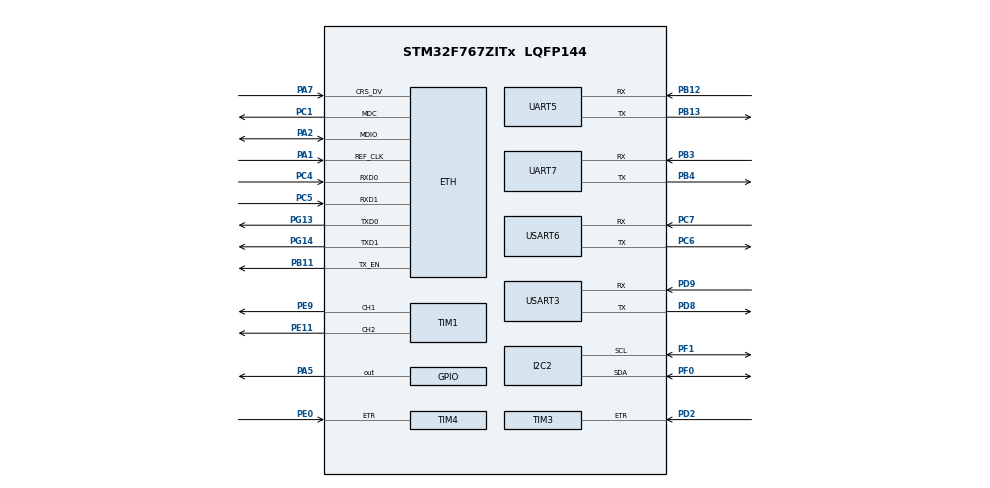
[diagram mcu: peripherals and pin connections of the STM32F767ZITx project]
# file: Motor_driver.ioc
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ADC1.Channel-0\#ChannelRegularConversion=ADC_CHANNEL_TEMPSENSOR
ADC1.ClockPrescaler=ADC_CLOCK_SYNC_PCLK_DIV4
ADC1.NbrOfConversionFlag=1
ADC1.Rank-0\#ChannelRegularConversion=1
ADC1.SamplingTime-0\#ChannelRegularConversion=ADC_SAMPLETIME_3CYCLES
ADC1.master=1
CORTEX_M7.default_mode_Activation=1
Dma.Request0=USART6_RX
Dma.USART6_RX.0.Direction=DMA_PERIPH_TO_MEMORY
Dma.USART6_RX.0.FIFOMode=DMA_FIFOMODE_DISABLE
Dma.USART6_RX.0.Instance=DMA2_Stream1
Dma.USART6_RX.0.MemDataAlignment=DMA_MDATAALIGN_BYTE
Dma.USART6_RX.0.MemInc=DMA_MINC_ENABLE
Dma.USART6_RX.0.Mode=DMA_NORMAL
Dma.USART6_RX.0.PeriphDataAlignment=DMA_PDATAALIGN_BYTE
Dma.USART6_RX.0.PeriphInc=DMA_PINC_DISABLE
Dma.USART6_RX.0.Priority=DMA_PRIORITY_LOW
ETH.MediaInterface=HAL_ETH_RMII_MODE
LWIP.BSP.number=1
LWIP.Version=v2.1.2_Cube
LWIP0.BSP.STBoard=false
LWIP0.BSP.api=BSP_COMPONENT_DRIVER
LWIP0.BSP.component=LAN8742
LWIP0.BSP.instance=LAN8742
LWIP0.BSP.name=Driver_PHY
LWIP0.BSP.semaphore=S_LAN8742
LWIP0.BSP.solution=LAN8742
Mcu.Family=STM32F7
Mcu.Name=STM32F767ZITx
Mcu.Package=LQFP144
NVIC.DMA2_Stream1_IRQn=true\:0\:0\:false\:false\:true\:false\:true\:true
NVIC.PriorityGroup=NVIC_PRIORITYGROUP_4
NVIC.UART7_IRQn=true\:0\:0\:false\:false\:true\:true\:true\:true
NVIC.USART6_IRQn=true\:0\:0\:false\:false\:true\:true\:true\:true
PA1.Mode=RMII
PA1.Signal=ETH_REF_CLK
PA2.Mode=RMII
PA2.Signal=ETH_MDIO
PA5.Signal=GPIO_Output
PA7.Mode=RMII
PA7.Signal=ETH_CRS_DV
PB11.Mode=RMII
PB11.Signal=ETH_TX_EN
PB12.Mode=Asynchronous
PB12.Signal=UART5_RX
PB13.Mode=Asynchronous
PB13.Signal=UART5_TX
PB3.Mode=Asynchronous
PB3.Signal=UART7_RX
PB4.Mode=Asynchronous
PB4.Signal=UART7_TX
PC1.Mode=RMII
PC1.Signal=ETH_MDC
PC4.Mode=RMII
PC4.Signal=ETH_RXD0
PC5.Mode=RMII
PC5.Signal=ETH_RXD1
PC6.Mode=Asynchronous
PC6.Signal=USART6_TX
PC7.Mode=Asynchronous
PC7.Signal=USART6_RX
PD2.Signal=S_TIM3_ETR
PD8.Mode=Asynchronous
PD8.Signal=USART3_TX
PD9.Mode=Asynchronous
PD9.Signal=USART3_RX
PE0.Signal=S_TIM4_ETR
PE11.Signal=S_TIM1_CH2
PE9.Signal=S_TIM1_CH1
PF0.Mode=I2C
PF0.Signal=I2C2_SDA
PF1.Mode=I2C
PF1.Signal=I2C2_SCL
PG13.Mode=RMII
PG13.Signal=ETH_TXD0
PG14.Mode=RMII
PG14.Signal=ETH_TXD1
ProjectManager.HeapSize=0x200
ProjectManager.StackSize=0x400
ProjectManager.TargetToolchain=STM32CubeIDE
RCC.HSE_VALUE=25000000
RCC.HSI_VALUE=16000000
RCC.LSE_VALUE=32768
RCC.USBFreq_Value=96000000
RCC.VCOOutputFreq_Value=192000000
SH.S_TIM1_CH1.0=TIM1_CH1,PWM Generation1 CH1
SH.S_TIM1_CH2.0=TIM1_CH2,PWM Generation2 CH2
SH.S_TIM3_ETR.0=TIM3_ETR,ClockSourceETR_Mode2
SH.S_TIM4_ETR.0=TIM4_ETR,ClockSourceETR_Mode2
TIM1.Channel-PWM\ Generation1\ CH1=TIM_CHANNEL_1
TIM1.Channel-PWM\ Generation2\ CH2=TIM_CHANNEL_2
TIM3.ClockFilter=3
TIM4.ClockFilter=3
USART3.VirtualMode-Asynchronous=VM_ASYNC
USART6.VirtualMode-Asynchronous=VM_ASYNC
VP_ADC1_TempSens_Input.Mode=IN-TempSens
VP_ADC1_Vref_Input.Mode=IN-Vrefint
VP_LWIP_VS_Enabled.Mode=Enabled
board=custom

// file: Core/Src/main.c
/* USER CODE BEGIN Header */
/**
  ******************************************************************************
  * @file           : main.c
  * @brief          : Main program body
  ******************************************************************************
  * @attention
  *
  * Copyright (c) 2026 STMicroelectronics.
  * All rights reserved.
  *
  * This software is licensed under terms that can be found in the LICENSE file
  * in the root directory of this software component.
  * If no LICENSE file comes with this software, it is provided AS-IS.
  *
  ******************************************************************************
  */
/* USER CODE END Header */
#include "main.h"

/* USER CODE BEGIN Includes */
#include "i2c-lcd.h"
#include "stdio.h"
#include "ibus.h"
#include "motor.h"
#include "encoder.h"
#include "odom.h"
#include "cmd.h"

/* USER CODE END Includes */

/* USER CODE BEGIN PD */
  #define TS_CAL1 (*(volatile uint16_t *)0x1FF0F44CUL)   // raw @ 30 C
  #define TS_CAL2 (*(volatile uint16_t *)0x1FF0F44EUL)   // raw @ 110 C

/* USER CODE END PD */

ADC_HandleTypeDef hadc1;

I2C_HandleTypeDef hi2c2;

TIM_HandleTypeDef htim1;
TIM_HandleTypeDef htim3;
TIM_HandleTypeDef htim4;

UART_HandleTypeDef huart5;
UART_HandleTypeDef huart7;
UART_HandleTypeDef huart3;
UART_HandleTypeDef huart6;
DMA_HandleTypeDef hdma_usart6_rx;

void SystemClock_Config(void);
static void MPU_Config(void);
static void MX_GPIO_Init(void);
static void MX_DMA_Init(void);
static void MX_I2C2_Init(void);
static void MX_ADC1_Init(void);
static void MX_TIM1_Init(void);
static void MX_USART6_UART_Init(void);
static void MX_USART3_UART_Init(void);
static void MX_TIM3_Init(void);
static void MX_TIM4_Init(void);
static void MX_UART5_Init(void);
static void MX_UART7_Init(void);

/* USER CODE BEGIN 0 */
int row=0;
int col=0;
/* USER CODE END 0 */

int main(void)
{

  /* USER CODE BEGIN 1 */
  RCC->AHB1ENR |= RCC_AHB1ENR_GPIOCEN ;
  RCC->AHB1ENR |= RCC_AHB1ENR_GPIOBEN ;
  /* USER CODE END 1 */

  /* MPU Configuration--------------------------------------------------------*/
  MPU_Config();

  /* MCU Configuration--------------------------------------------------------*/

  /* Reset of all peripherals, Initializes the Flash interface and the Systick. */
  HAL_Init();

  /* Configure the system clock */
  SystemClock_Config();

  /* Initialize all configured peripherals */
  MX_GPIO_Init();
  MX_DMA_Init();
  MX_I2C2_Init();
  MX_ADC1_Init();
  MX_TIM1_Init();
  MX_USART6_UART_Init();
  MX_USART3_UART_Init();
  MX_TIM3_Init();
  MX_TIM4_Init();
  MX_UART5_Init();
  MX_UART7_Init();
  /* USER CODE BEGIN 2 */

//  lcd_init ();
//  lcd_put_cur(0, 0);
//  lcd_send_string ("Motor Control Init");
//  lcd_put_cur(1, 0);
//  lcd_send_string("Agribot");
  RCC->APB2ENR |= RCC_APB2ENR_ADC1EN ;

  // i tried selecting Select ADC1_IN18 input channel. since the paragpghe said "
  /* 15.3.4 Channel selection
  There are 16 multiplexed channels. It is possible to organize the conversions in two groups:
  regular and injected. A group consists of a sequence of conversions that can be done on
  any channel and in any order. For instance, it is possible to implement the conversion
  sequence in the following order: ADC_IN3, ADC_IN8, ADC_IN2, ADC_IN2, ADC_IN0,
  ADC_IN2, ADC_IN2, ADC_IN15.
  • A regular group is composed of up to 16 conversions. The regular channels and their
  order in the conversion sequence must be selected in the ADC_SQRx registers. The
  total number of conversions in the regular group must be written in the L[3:0] bits in the
  ADC_SQR1 register.*/
  ADC1->SQR1 &= ~ADC_SQR1_L;             // L = 0  -> sequence length of 1 conversion
  ADC1->SQR3 = (18u << ADC_SQR3_SQ1_Pos);
  // 1st conversion = channel 18 (SQ1_Pos is 0, so this is just 18)
    //now i have to set the sampling time
  ADC1->SMPR1 |= ADC_SMPR1_SMP18;

  //3-Set the TSVREFE bit in the ADC_CCR register to wake up the temperature sensor
//  from power down mode
  ADC->CCR |= ADC_CCR_TSVREFE ;
  //4-Start the ADC conversion by setting the SWSTART bit
  ADC1->CR2 |=  ADC_CR2_SWSTART ;

  /* Start FlySky iBUS reception on USART6 (PC7) via DMA + IDLE line */
  ibus_init(&huart6);

  /* Configure TIM1 PWM + DIR/STOP GPIOs; both motors start stopped */
  motor_init();

  /* Start wheel-odometry pulse counters (TIM3=right/PD2, TIM4=left/PE0) */
  encoder_init();

  /* Start odometry TX bridge to the Pi over UART7 (PB4=TX, PB3=RX) */
  odom_init(&huart7);

  /* Start Pi cmd_vel RX on the same UART7 link (PB3) -- see cmd.h */
  cmd_init(&huart7);

ADC1->CR1 |= ADC_ALL_CHANNELS ;
  /* USER CODE END 2 */

  /* Infinite loop */
  while (1)
  {

    /* USER CODE BEGIN 3 */
    /* Poll arm button, sample wheel odometry, then drive. ~100 Hz. */
    motor_button_update();
    encoder_update();
    motor_rc_update();
    odom_update();          /* stream wheel odometry to the Pi @ 50 Hz */

    /* Throttled debug on the USART3 VCP (~5 Hz). */
    static uint32_t last_dbg = 0;
    if (HAL_GetTick() - last_dbg >= 200) {
      last_dbg = HAL_GetTick();
      const char *state = !motor_is_armed() ? "DISARMED"
                          : (ibus_is_alive(100) ? "ARMED" : "FAILSAFE");
      const char *src = (motor_drive_source() == DRIVE_RC)  ? "RC"
                       : (motor_drive_source() == DRIVE_CMD) ? "CMD"
                       : "-";
      /* velocity in mm/s as int -> avoids needing float-printf (-u _printf_float) */
      printf("%s src:%s  F:%lu E:%lu  cmdF:%lu cmdE:%lu  spd(CH2):%u steer(CH1):%u  vL:%d vR:%d mm/s  pL:%lu pR:%lu\r\n",
             state, src, ibus.frame_count, ibus.error_count,
             cmd_frame_count, cmd_error_count,
             ibus_get_channel(1), ibus_get_channel(0),
             (int)(encoder_speed_mps(MOTOR_LEFT)  * 1000.0f),
             (int)(encoder_speed_mps(MOTOR_RIGHT) * 1000.0f),
             encoder_pulses(MOTOR_LEFT), encoder_pulses(MOTOR_RIGHT));
    }
    HAL_Delay(10);
  }
  /* USER CODE END 3 */
}

void SystemClock_Config(void)
{
  RCC_OscInitTypeDef RCC_OscInitStruct = {0};
  RCC_ClkInitTypeDef RCC_ClkInitStruct = {0};

  /** Configure the main internal regulator output voltage
  */
  __HAL_RCC_PWR_CLK_ENABLE();
  __HAL_PWR_VOLTAGESCALING_CONFIG(PWR_REGULATOR_VOLTAGE_SCALE3);

  /** Initializes the RCC Oscillators according to the specified parameters
  * in the RCC_OscInitTypeDef structure.
  */
  RCC_OscInitStruct.OscillatorType = RCC_OSCILLATORTYPE_HSI;
  RCC_OscInitStruct.HSIState = RCC_HSI_ON;
  RCC_OscInitStruct.HSICalibrationValue = RCC_HSICALIBRATION_DEFAULT;
  RCC_OscInitStruct.PLL.PLLState = RCC_PLL_NONE;
  if (HAL_RCC_OscConfig(&RCC_OscInitStruct) != HAL_OK)
  {
    Error_Handler();
  }

  /** Initializes the CPU, AHB and APB buses clocks
  */
  RCC_ClkInitStruct.ClockType = RCC_CLOCKTYPE_HCLK|RCC_CLOCKTYPE_SYSCLK
                              |RCC_CLOCKTYPE_PCLK1|RCC_CLOCKTYPE_PCLK2;
  RCC_ClkInitStruct.SYSCLKSource = RCC_SYSCLKSOURCE_HSI;
  RCC_ClkInitStruct.AHBCLKDivider = RCC_SYSCLK_DIV1;
  RCC_ClkInitStruct.APB1CLKDivider = RCC_HCLK_DIV1;
  RCC_ClkInitStruct.APB2CLKDivider = RCC_HCLK_DIV1;

  if (HAL_RCC_ClockConfig(&RCC_ClkInitStruct, FLASH_LATENCY_0) != HAL_OK)
  {
    Error_Handler();
  }
}

static void MX_ADC1_Init(void)
{

  ADC_ChannelConfTypeDef sConfig = {0};

  /** Configure the global features of the ADC (Clock, Resolution, Data Alignment and number of conversion)
  */
  hadc1.Instance = ADC1;
  hadc1.Init.ClockPrescaler = ADC_CLOCK_SYNC_PCLK_DIV4;
  hadc1.Init.Resolution = ADC_RESOLUTION_12B;
  hadc1.Init.ScanConvMode = ADC_SCAN_DISABLE;
  hadc1.Init.ContinuousConvMode = DISABLE;
  hadc1.Init.DiscontinuousConvMode = DISABLE;
  hadc1.Init.ExternalTrigConvEdge = ADC_EXTERNALTRIGCONVEDGE_NONE;
  hadc1.Init.ExternalTrigConv = ADC_SOFTWARE_START;
  hadc1.Init.DataAlign = ADC_DATAALIGN_RIGHT;
  hadc1.Init.NbrOfConversion = 1;
  hadc1.Init.DMAContinuousRequests = DISABLE;
  hadc1.Init.EOCSelection = ADC_EOC_SINGLE_CONV;
  if (HAL_ADC_Init(&hadc1) != HAL_OK)
  {
    Error_Handler();
  }

  /** Configure for the selected ADC regular channel its corresponding rank in the sequencer and its sample time.
  */
  sConfig.Channel = ADC_CHANNEL_TEMPSENSOR;
  sConfig.Rank = ADC_REGULAR_RANK_1;
  sConfig.SamplingTime = ADC_SAMPLETIME_3CYCLES;
  if (HAL_ADC_ConfigChannel(&hadc1, &sConfig) != HAL_OK)
  {
    Error_Handler();
  }

}

static void MX_I2C2_Init(void)
{

  hi2c2.Instance = I2C2;
  hi2c2.Init.Timing = 0x00303D5B;
  hi2c2.Init.OwnAddress1 = 0;
  hi2c2.Init.AddressingMode = I2C_ADDRESSINGMODE_7BIT;
  hi2c2.Init.DualAddressMode = I2C_DUALADDRESS_DISABLE;
  hi2c2.Init.OwnAddress2 = 0;
  hi2c2.Init.OwnAddress2Masks = I2C_OA2_NOMASK;
  hi2c2.Init.GeneralCallMode = I2C_GENERALCALL_DISABLE;
  hi2c2.Init.NoStretchMode = I2C_NOSTRETCH_DISABLE;
  if (HAL_I2C_Init(&hi2c2) != HAL_OK)
  {
    Error_Handler();
  }

  /** Configure Analogue filter
  */
  if (HAL_I2CEx_ConfigAnalogFilter(&hi2c2, I2C_ANALOGFILTER_ENABLE) != HAL_OK)
  {
    Error_Handler();
  }

  /** Configure Digital filter
  */
  if (HAL_I2CEx_ConfigDigitalFilter(&hi2c2, 0) != HAL_OK)
  {
    Error_Handler();
  }

}

static void MX_TIM1_Init(void)
{

  TIM_MasterConfigTypeDef sMasterConfig = {0};
  TIM_OC_InitTypeDef sConfigOC = {0};
  TIM_BreakDeadTimeConfigTypeDef sBreakDeadTimeConfig = {0};

  htim1.Instance = TIM1;
  htim1.Init.Prescaler = 0;
  htim1.Init.CounterMode = TIM_COUNTERMODE_UP;
  htim1.Init.Period = 65535;
  htim1.Init.ClockDivision = TIM_CLOCKDIVISION_DIV1;
  htim1.Init.RepetitionCounter = 0;
  htim1.Init.AutoReloadPreload = TIM_AUTORELOAD_PRELOAD_DISABLE;
  if (HAL_TIM_PWM_Init(&htim1) != HAL_OK)
  {
    Error_Handler();
  }
  sMasterConfig.MasterOutputTrigger = TIM_TRGO_RESET;
  sMasterConfig.MasterOutputTrigger2 = TIM_TRGO2_RESET;
  sMasterConfig.MasterSlaveMode = TIM_MASTERSLAVEMODE_DISABLE;
  if (HAL_TIMEx_MasterConfigSynchronization(&htim1, &sMasterConfig) != HAL_OK)
  {
    Error_Handler();
  }
  sConfigOC.OCMode = TIM_OCMODE_PWM1;
  sConfigOC.Pulse = 0;
  sConfigOC.OCPolarity = TIM_OCPOLARITY_HIGH;
  sConfigOC.OCNPolarity = TIM_OCNPOLARITY_HIGH;
  sConfigOC.OCFastMode = TIM_OCFAST_DISABLE;
  sConfigOC.OCIdleState = TIM_OCIDLESTATE_RESET;
  sConfigOC.OCNIdleState = TIM_OCNIDLESTATE_RESET;
  if (HAL_TIM_PWM_ConfigChannel(&htim1, &sConfigOC, TIM_CHANNEL_1) != HAL_OK)
  {
    Error_Handler();
  }
  if (HAL_TIM_PWM_ConfigChannel(&htim1, &sConfigOC, TIM_CHANNEL_2) != HAL_OK)
  {
    Error_Handler();
  }
  sBreakDeadTimeConfig.OffStateRunMode = TIM_OSSR_DISABLE;
  sBreakDeadTimeConfig.OffStateIDLEMode = TIM_OSSI_DISABLE;
  sBreakDeadTimeConfig.LockLevel = TIM_LOCKLEVEL_OFF;
  sBreakDeadTimeConfig.DeadTime = 0;
  sBreakDeadTimeConfig.BreakState = TIM_BREAK_DISABLE;
  sBreakDeadTimeConfig.BreakPolarity = TIM_BREAKPOLARITY_HIGH;
  sBreakDeadTimeConfig.BreakFilter = 0;
  sBreakDeadTimeConfig.Break2State = TIM_BREAK2_DISABLE;
  sBreakDeadTimeConfig.Break2Polarity = TIM_BREAK2POLARITY_HIGH;
  sBreakDeadTimeConfig.Break2Filter = 0;
  sBreakDeadTimeConfig.AutomaticOutput = TIM_AUTOMATICOUTPUT_DISABLE;
  if (HAL_TIMEx_ConfigBreakDeadTime(&htim1, &sBreakDeadTimeConfig) != HAL_OK)
  {
    Error_Handler();
  }
  HAL_TIM_MspPostInit(&htim1);

}

static void MX_TIM3_Init(void)
{

  TIM_ClockConfigTypeDef sClockSourceConfig = {0};
  TIM_MasterConfigTypeDef sMasterConfig = {0};

  htim3.Instance = TIM3;
  htim3.Init.Prescaler = 0;
  htim3.Init.CounterMode = TIM_COUNTERMODE_UP;
  htim3.Init.Period = 65535;
  htim3.Init.ClockDivision = TIM_CLOCKDIVISION_DIV1;
  htim3.Init.AutoReloadPreload = TIM_AUTORELOAD_PRELOAD_DISABLE;
  if (HAL_TIM_Base_Init(&htim3) != HAL_OK)
  {
    Error_Handler();
  }
  sClockSourceConfig.ClockSource = TIM_CLOCKSOURCE_ETRMODE2;
  sClockSourceConfig.ClockPolarity = TIM_CLOCKPOLARITY_NONINVERTED;
  sClockSourceConfig.ClockPrescaler = TIM_CLOCKPRESCALER_DIV1;
  sClockSourceConfig.ClockFilter = 3;
  if (HAL_TIM_ConfigClockSource(&htim3, &sClockSourceConfig) != HAL_OK)
  {
    Error_Handler();
  }
  sMasterConfig.MasterOutputTrigger = TIM_TRGO_RESET;
  sMasterConfig.MasterSlaveMode = TIM_MASTERSLAVEMODE_DISABLE;
  if (HAL_TIMEx_MasterConfigSynchronization(&htim3, &sMasterConfig) != HAL_OK)
  {
    Error_Handler();
  }

}

static void MX_TIM4_Init(void)
{

  TIM_ClockConfigTypeDef sClockSourceConfig = {0};
  TIM_MasterConfigTypeDef sMasterConfig = {0};

  htim4.Instance = TIM4;
  htim4.Init.Prescaler = 0;
  htim4.Init.CounterMode = TIM_COUNTERMODE_UP;
  htim4.Init.Period = 65535;
  htim4.Init.ClockDivision = TIM_CLOCKDIVISION_DIV1;
  htim4.Init.AutoReloadPreload = TIM_AUTORELOAD_PRELOAD_DISABLE;
  if (HAL_TIM_Base_Init(&htim4) != HAL_OK)
  {
    Error_Handler();
  }
  sClockSourceConfig.ClockSource = TIM_CLOCKSOURCE_ETRMODE2;
  sClockSourceConfig.ClockPolarity = TIM_CLOCKPOLARITY_NONINVERTED;
  sClockSourceConfig.ClockPrescaler = TIM_CLOCKPRESCALER_DIV1;
  sClockSourceConfig.ClockFilter = 3;
  if (HAL_TIM_ConfigClockSource(&htim4, &sClockSourceConfig) != HAL_OK)
  {
    Error_Handler();
  }
  sMasterConfig.MasterOutputTrigger = TIM_TRGO_RESET;
  sMasterConfig.MasterSlaveMode = TIM_MASTERSLAVEMODE_DISABLE;
  if (HAL_TIMEx_MasterConfigSynchronization(&htim4, &sMasterConfig) != HAL_OK)
  {
    Error_Handler();
  }

}

static void MX_UART5_Init(void)
{

  huart5.Instance = UART5;
  huart5.Init.BaudRate = 115200;
  huart5.Init.WordLength = UART_WORDLENGTH_8B;
  huart5.Init.StopBits = UART_STOPBITS_1;
  huart5.Init.Parity = UART_PARITY_NONE;
  huart5.Init.Mode = UART_MODE_TX_RX;
  huart5.Init.HwFlowCtl = UART_HWCONTROL_NONE;
  huart5.Init.OverSampling = UART_OVERSAMPLING_16;
  huart5.Init.OneBitSampling = UART_ONE_BIT_SAMPLE_DISABLE;
  huart5.AdvancedInit.AdvFeatureInit = UART_ADVFEATURE_NO_INIT;
  if (HAL_UART_Init(&huart5) != HAL_OK)
  {
    Error_Handler();
  }

}

static void MX_UART7_Init(void)
{

  huart7.Instance = UART7;
  huart7.Init.BaudRate = 115200;
  huart7.Init.WordLength = UART_WORDLENGTH_8B;
  huart7.Init.StopBits = UART_STOPBITS_1;
  huart7.Init.Parity = UART_PARITY_NONE;
  huart7.Init.Mode = UART_MODE_TX_RX;
  huart7.Init.HwFlowCtl = UART_HWCONTROL_NONE;
  huart7.Init.OverSampling = UART_OVERSAMPLING_16;
  huart7.Init.OneBitSampling = UART_ONE_BIT_SAMPLE_DISABLE;
  huart7.AdvancedInit.AdvFeatureInit = UART_ADVFEATURE_NO_INIT;
  if (HAL_UART_Init(&huart7) != HAL_OK)
  {
    Error_Handler();
  }

}

static void MX_USART3_UART_Init(void)
{

  huart3.Instance = USART3;
  huart3.Init.BaudRate = 115200;
  huart3.Init.WordLength = UART_WORDLENGTH_8B;
  huart3.Init.StopBits = UART_STOPBITS_1;
  huart3.Init.Parity = UART_PARITY_NONE;
  huart3.Init.Mode = UART_MODE_TX_RX;
  huart3.Init.HwFlowCtl = UART_HWCONTROL_NONE;
  huart3.Init.OverSampling = UART_OVERSAMPLING_16;
  huart3.Init.OneBitSampling = UART_ONE_BIT_SAMPLE_DISABLE;
  huart3.AdvancedInit.AdvFeatureInit = UART_ADVFEATURE_NO_INIT;
  if (HAL_UART_Init(&huart3) != HAL_OK)
  {
    Error_Handler();
  }

}

static void MX_USART6_UART_Init(void)
{

  huart6.Instance = USART6;
  huart6.Init.BaudRate = 115200;
  huart6.Init.WordLength = UART_WORDLENGTH_8B;
  huart6.Init.StopBits = UART_STOPBITS_1;
  huart6.Init.Parity = UART_PARITY_NONE;
  huart6.Init.Mode = UART_MODE_TX_RX;
  huart6.Init.HwFlowCtl = UART_HWCONTROL_NONE;
  huart6.Init.OverSampling = UART_OVERSAMPLING_16;
  huart6.Init.OneBitSampling = UART_ONE_BIT_SAMPLE_DISABLE;
  huart6.AdvancedInit.AdvFeatureInit = UART_ADVFEATURE_NO_INIT;
  if (HAL_UART_Init(&huart6) != HAL_OK)
  {
    Error_Handler();
  }

}

static void MX_DMA_Init(void)
{

  /* DMA controller clock enable */
  __HAL_RCC_DMA2_CLK_ENABLE();

  /* DMA interrupt init */
  /* DMA2_Stream1_IRQn interrupt configuration */
  HAL_NVIC_SetPriority(DMA2_Stream1_IRQn, 0, 0);
  HAL_NVIC_EnableIRQ(DMA2_Stream1_IRQn);

}

static void MX_GPIO_Init(void)
{
  GPIO_InitTypeDef GPIO_InitStruct = {0};

  /* GPIO Ports Clock Enable */
  __HAL_RCC_GPIOF_CLK_ENABLE();
  __HAL_RCC_GPIOA_CLK_ENABLE();
  __HAL_RCC_GPIOE_CLK_ENABLE();
  __HAL_RCC_GPIOB_CLK_ENABLE();
  __HAL_RCC_GPIOD_CLK_ENABLE();
  __HAL_RCC_GPIOC_CLK_ENABLE();

  /*Configure GPIO pin Output Level */
  HAL_GPIO_WritePin(GPIOA, GPIO_PIN_5, GPIO_PIN_RESET);

  /*Configure GPIO pin : PA5 */
  GPIO_InitStruct.Pin = GPIO_PIN_5;
  GPIO_InitStruct.Mode = GPIO_MODE_OUTPUT_PP;
  GPIO_InitStruct.Pull = GPIO_NOPULL;
  GPIO_InitStruct.Speed = GPIO_SPEED_FREQ_LOW;
  HAL_GPIO_Init(GPIOA, &GPIO_InitStruct);

}

/* USER CODE BEGIN 4 */
int __io_putchar(int ch)
  {
      HAL_UART_Transmit(&huart3, (uint8_t *)&ch, 1, HAL_MAX_DELAY);
      return ch;
  }

/* Fires once per iBUS frame, when the line goes idle after the 32-byte burst;
 * also fires once per Pi cmd_vel frame on UART7 (idle-line IT, no DMA there). */
void HAL_UARTEx_RxEventCallback(UART_HandleTypeDef *huart, uint16_t Size)
{
    if (huart->Instance == USART6) {
        ibus_on_rx_event(Size);
    } else if (huart->Instance == UART7) {
        cmd_on_rx_event(Size);
    }
}

/* Recover the reception after an overrun/noise error, on either link */
void HAL_UART_ErrorCallback(UART_HandleTypeDef *huart)
{
    if (huart->Instance == USART6) {
        ibus_on_error();
    } else if (huart->Instance == UART7) {
        cmd_on_error();
    }
}

/* USER CODE END 4 */

 /* MPU Configuration */

void MPU_Config(void)
{
  MPU_Region_InitTypeDef MPU_InitStruct = {0};

  /* Disables the MPU */
  HAL_MPU_Disable();

  /** Initializes and configures the Region and the memory to be protected
  */
  MPU_InitStruct.Enable = MPU_REGION_ENABLE;
  MPU_InitStruct.Number = MPU_REGION_NUMBER0;
  MPU_InitStruct.BaseAddress = 0x0;
  MPU_InitStruct.Size = MPU_REGION_SIZE_4GB;
  MPU_InitStruct.SubRegionDisable = 0x87;
  MPU_InitStruct.TypeExtField = MPU_TEX_LEVEL0;
  MPU_InitStruct.AccessPermission = MPU_REGION_NO_ACCESS;
  MPU_InitStruct.DisableExec = MPU_INSTRUCTION_ACCESS_DISABLE;
  MPU_InitStruct.IsShareable = MPU_ACCESS_SHAREABLE;
  MPU_InitStruct.IsCacheable = MPU_ACCESS_NOT_CACHEABLE;
  MPU_InitStruct.IsBufferable = MPU_ACCESS_NOT_BUFFERABLE;

  HAL_MPU_ConfigRegion(&MPU_InitStruct);
  /* Enables the MPU */
  HAL_MPU_Enable(MPU_PRIVILEGED_DEFAULT);

}

void Error_Handler(void)
{
  __disable_irq();
  while (1)
  {
  }
}
